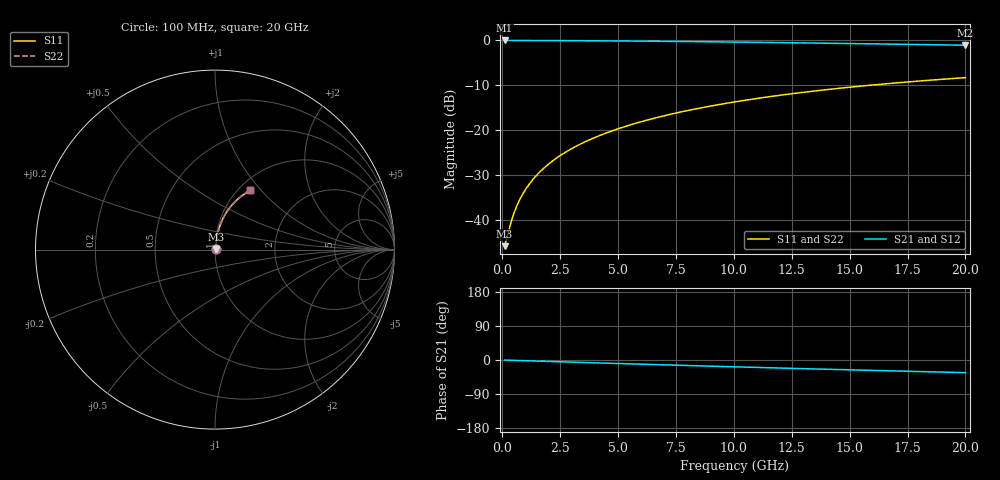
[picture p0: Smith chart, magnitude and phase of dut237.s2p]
! Touchstone file exported from HFSS 2024.1.0
!  File:  C:/UserFiles/LocalFiles/RDL_TSV_Batchsim/temp_RDL_bottom_237_1778701130.aedt
!  Generated:  03:41:30 AM May 14, 2026
!  Design:  RDL_bottom
!  Project:  temp_RDL_bottom_237_1778701130
!  Setup:  Setup1
!  Solution:  Sweep
! Variables:
!  dtsv = 10.80580581um
!  hbump = 3um
!  htsv = 81.77um
!  ldown = 417.7um
!  lrdl = 100um
!  p = 40
!  p1 = 43.5um
!  rhole = 1um
!  t = 450um
!  tdown = 2.5um
!  trdl = 3.915915916um
!  wdown = 13.31um
!  wrdl = 20um
# GHz S MA R 50.000000
! Terminal data exported
! Port[1] = RDL1_T1
! Port[2] = RDL1_T2
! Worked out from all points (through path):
!   200 points, 100 MHz to 20 GHz, reference 50 ohm
!   highest |S21| = -0.04 dB at 100 MHz (marker M1); lowest = -1.1 dB at 20 GHz (marker M2)
!   group delay of S21, straight-line fit = 4.63 ps
!   lowest |S11| = -45.9 dB at 100 MHz (marker M3), VSWR 1.01, Z = 50.5 + j0.219 ohm
!   |S11| at or under -10 dB: start of sweep to 15.91 GHz
!   |S22| runs from -45.9 to -8.3 dB; largest |S21 - S12| = 4.3e-15
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0.1  0.005094 25.2  0.9954 -0.2  0.9954 -0.2  0.005094 25.2
! Gamma 0 0 0 0
! Port Impedance 50 0 50 0
0.3  0.008026 53.7  0.9952 -0.6  0.9952 -0.6  0.008026 53.7
0.4  0.009867 60.5  0.9951 -0.8  0.9951 -0.8  0.009867 60.5
0.5  0.01179 64.9  0.995 -1.0  0.995 -1.0  0.01179 64.9
0.6  0.01375 68.1  0.9949 -1.2  0.9949 -1.2  0.01375 68.1
0.7  0.01573 70.4  0.9947 -1.3  0.9947 -1.3  0.01573 70.4
0.9  0.01971 73.6  0.9944 -1.7  0.9944 -1.7  0.01971 73.6
1.2  0.02571 76.5  0.994 -2.3  0.994 -2.3  0.02571 76.5
1.4  0.02972 77.7  0.9937 -2.7  0.9937 -2.7  0.02972 77.7
1.7  0.03577 78.9  0.9932 -3.2  0.9932 -3.2  0.03577 78.9
2.2  0.0459 80.1  0.9922 -4.1  0.9922 -4.1  0.0459 80.1
2.8  0.05814 80.7  0.9908 -5.3  0.9908 -5.3  0.05814 80.7
3.5  0.07247 80.8  0.9888 -6.6  0.9888 -6.6  0.07247 80.8
4.2  0.08686 80.5  0.9864 -7.8  0.9864 -7.8  0.08686 80.5
5  0.1033 80.0  0.9833 -9.3  0.9833 -9.3  0.1033 80.0
5.9  0.1219 79.1  0.9793 -10.9  0.9793 -10.9  0.1219 79.1
6.8  0.1404 78.1  0.9748 -12.5  0.9748 -12.5  0.1404 78.1
8.3  0.171 76.2  0.9664 -15.1  0.9664 -15.1  0.171 76.2
10.1  0.2072 73.6  0.9552 -18.1  0.9552 -18.1  0.2072 73.6
13.4  0.2708 68.8  0.9322 -23.5  0.9322 -23.5  0.2708 68.8
16.7  0.3299 63.9  0.9071 -28.6  0.9071 -28.6  0.3299 63.9
20  0.3836 59.2  0.881 -33.3  0.881 -33.3  0.3836 59.2
